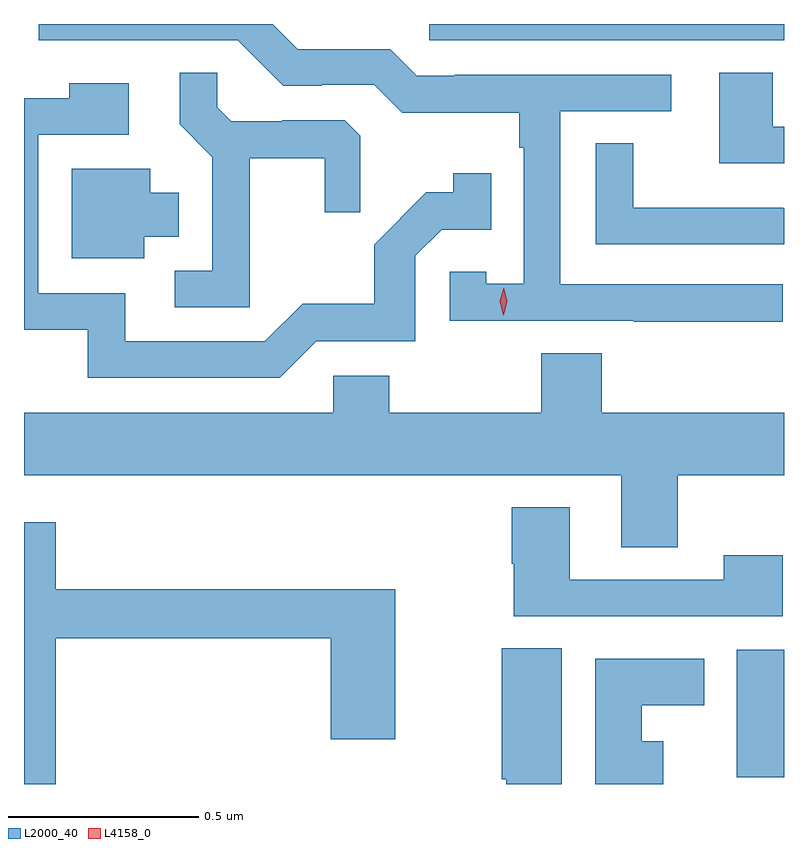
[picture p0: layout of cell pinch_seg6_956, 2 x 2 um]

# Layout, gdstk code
import gdstk
lib = gdstk.Library(unit=1e-6, precision=1e-09)
def R(c, l, rs):  # rectangles x0, y0, x1, y1
    for r in rs: c.add(gdstk.rectangle(r[:2], r[2:], *l))
def P(c, l, *ps):  # polygons
    for p in ps: c.add(gdstk.Polygon(p, *l))
L2000_40 = (2000, 40)
L4158_0 = (4158, 0)

pinch_seg6_956 = lib.new_cell('pinch_seg6_956')
R(pinch_seg6_956, L2000_40, [(372.638,917.237,372.763,917.572), (371.829,919.176,372.763,919.219)])
P(pinch_seg6_956, L2000_40, [(372.76,918.534),(372.174,918.534),(372.174,918.99),(372.466,918.99),(372.466,919.086),(371.896,919.086),(371.896,919.083),(371.796,919.083),(371.727,919.152),(371.484,919.152),(371.417,919.219),(370.802,919.219),(370.802,919.176),(371.325,919.176),(371.445,919.056),(371.546,919.056),(371.546,919.059),(371.685,919.059),(371.758,918.986),(372.066,918.986),(372.066,918.893),(372.078,918.893),(372.078,918.535),(371.979,918.535),(371.979,918.567),(371.883,918.567),(371.883,918.438),(372.367,918.438),(372.367,918.436),(372.76,918.436)],
  [(371.357,918.866),(371.554,918.866),(371.554,918.723),(371.648,918.723),(371.648,918.925),(371.607,918.966),(371.442,918.966),(371.442,918.963),(371.308,918.963),(371.271,919),(371.271,919.091),(371.173,919.091),(371.173,918.955),(371.259,918.869),(371.259,918.57),(371.16,918.57),(371.16,918.474),(371.357,918.474)],
  [(372.763,918.948),(372.733,918.948),(372.733,919.091),(372.593,919.091),(372.593,918.852),(372.763,918.852)],
  [(371.532,918.384),(371.793,918.384),(371.793,918.609),(371.862,918.678),(371.993,918.678),(371.993,918.826),(371.892,918.826),(371.892,918.776),(371.822,918.776),(371.685,918.638),(371.685,918.483),(371.496,918.483),(371.397,918.384),(371.029,918.384),(371.029,918.51),(370.8,918.51),(370.8,918.927),(371.038,918.927),(371.038,919.063),(370.882,919.063),(370.882,919.023),(370.763,919.023),(370.763,918.414),(370.931,918.414),(370.931,918.288),(371.436,918.288)],
  [(372.763,918.734),(372.761,918.734),(372.761,918.735),(372.366,918.735),(372.366,918.905),(372.267,918.905),(372.267,918.639),(372.763,918.639)],
  [(371.08,918.659),(371.17,918.659),(371.17,918.775),(371.095,918.775),(371.095,918.838),(370.889,918.838),(370.889,918.602),(371.08,918.602)],
  [(372.483,918.032),(372.763,918.032),(372.763,918.196),(372.284,918.196),(372.284,918.353),(372.124,918.353),(372.124,918.196),(371.724,918.196),(371.724,918.294),(371.577,918.294),(371.577,918.196),(370.763,918.196),(370.763,918.032),(372.335,918.032),(372.335,917.842),(372.483,917.842)],
  [(372.76,917.821),(372.604,917.821),(372.604,917.757),(372.199,917.757),(372.199,917.947),(372.047,917.947),(372.047,917.799),(372.052,917.799),(372.052,917.661),(372.76,917.661)],
  [(370.847,917.602),(371.57,917.602),(371.57,917.337),(371.74,917.337),(371.74,917.731),(370.847,917.731),(370.847,917.908),(370.763,917.908),(370.763,917.219),(370.847,917.219)],
  [(372.178,917.576),(372.02,917.576),(372.02,917.232),(372.032,917.232),(372.032,917.219),(372.178,917.219)],
  [(372.445,917.332),(372.388,917.332),(372.388,917.426),(372.553,917.426),(372.553,917.548),(372.266,917.548),(372.266,917.219),(372.445,917.219)])
P(pinch_seg6_956, L4158_0, [(372.024,918.453),(372.015,918.489),(372.025,918.525),(372.026,918.525),(372.026,918.525),(372.035,918.489),(372.025,918.453),(372.025,918.453)])

lib.write_gds('pinch_seg6_956.gds')
